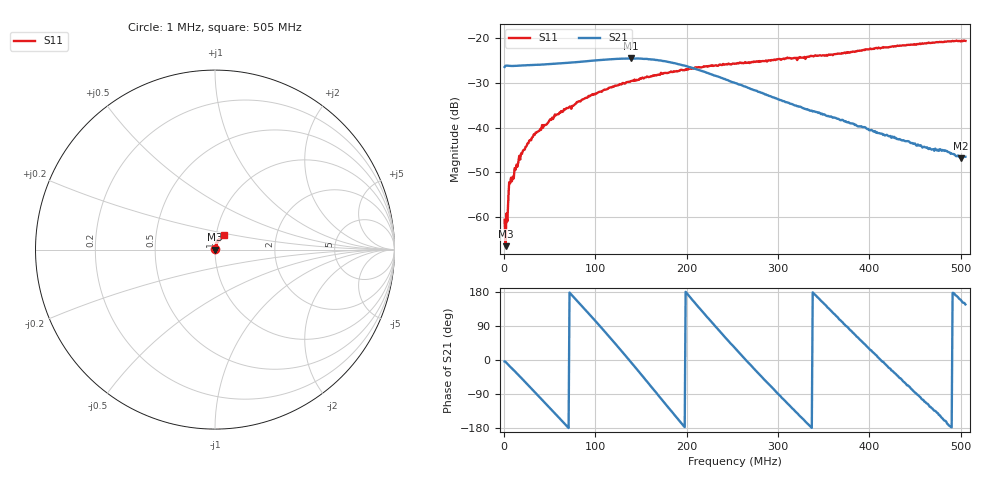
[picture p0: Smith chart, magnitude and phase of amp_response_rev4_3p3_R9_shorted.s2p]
# HZ S RI R 50
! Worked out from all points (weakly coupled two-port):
!   505 points, 1 MHz to 505 MHz, reference 50 ohm
!   highest |S21| = -24.49 dB at 139 MHz (marker M1); lowest = -46.9 dB at 500 MHz (marker M2)
!   lowest |S11| = -66.6 dB at 2 MHz (marker M3), VSWR 1.00, Z = 50 + j0.0409 ohm
!   |S11| at or under -10 dB: start of sweep to end of sweep
!   S12 and S22 are empty: the file has one direction only
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1000000  -0.000577 0.000729  0.0477 -0.00324  0 0  0 0
2000000  -0.000232 0.000409  0.0492 -0.00404  0 0  0 0
3000000  -6.43e-05 0.00109  0.049 -0.00636  0 0  0 0
4000000  0.000204 0.00087  0.0487 -0.00855  0 0  0 0
5000000  0.000265 0.00153  0.0482 -0.0107  0 0  0 0
8000000  0.000538 0.00269  0.0462 -0.0167  0 0  0 0
1.9e7  0.00105 0.00503  0.034 -0.0362  0 0  0 0
2.6e7  0.00174 0.00641  0.0216 -0.0453  0 0  0 0
3.5e7  0.00216 0.00857  0.00241 -0.0505  0 0  0 0
5.7e7  0.00383 0.0132  -0.0417 -0.0311  0 0  0 0
8.5e7  0.00664 0.0191  -0.0441 0.0324  0 0  0 0
1.11e8  0.00822 0.0254  0.0162 0.0555  0 0  0 0
1.39e8  0.00984 0.0316  0.0594 -0.00538  0 0  0 0
1.69e8  0.011 0.0375  -0.00292 -0.0568  0 0  0 0
1.99e8  0.0123 0.0434  -0.0491 9.1e-05  0 0  0 0
2.24e8  0.0146 0.0468  -0.0136 0.0383  0 0  0 0
2.53e8  0.0155 0.0496  0.027 0.0165  0 0  0 0
2.91e8  0.019 0.0535  0.00895 -0.0207  0 0  0 0
3.37e8  0.0259 0.0579  -0.0155 -0.00025  0 0  0 0
4.21e8  0.0413 0.068  0.00753 -0.00278  0 0  0 0
5e8  0.049 0.0786  -0.00422 0.00165  0 0  0 0
5.05e8  0.0495 0.0796  -0.00394 0.00259  0 0  0 0
